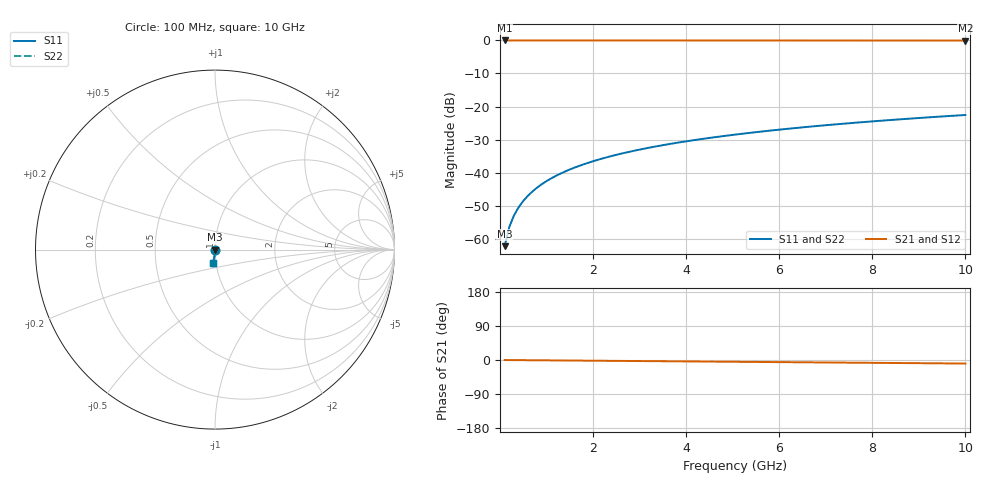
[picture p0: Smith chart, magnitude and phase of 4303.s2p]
# Hz S RI R 50.00
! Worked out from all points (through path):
!   100 points, 100 MHz to 10 GHz, reference 50 ohm
!   highest |S21| = 0.00 dB at 100 MHz (marker M1); lowest = 0.0 dB at 10 GHz (marker M2)
!   group delay of S21, straight-line fit = 2.59 ps
!   lowest |S11| = -62.3 dB at 100 MHz (marker M3), VSWR 1.00, Z = 50 - j0.0741 ohm
!   |S11| at or under -10 dB: start of sweep to end of sweep
!   |S22| runs from -62.3 to -22.6 dB; largest |S21 - S12| = 0
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1e8  0.000203 -0.000741  0.9998 -0.00162  0.9998 -0.00162  0.000203 -0.000741
2e8  0.0002 -0.00148  0.9998 -0.00323  0.9998 -0.00323  0.0002 -0.00148
3e8  0.000194 -0.00222  0.9998 -0.00485  0.9998 -0.00485  0.000194 -0.00222
4e8  0.000185 -0.00296  0.9998 -0.00647  0.9998 -0.00647  0.000185 -0.00296
5e8  0.000174 -0.0037  0.9997 -0.00809  0.9997 -0.00809  0.000174 -0.0037
6e8  0.00016 -0.00444  0.9997 -0.0097  0.9997 -0.0097  0.00016 -0.00444
7e8  0.000144 -0.00519  0.9997 -0.0113  0.9997 -0.0113  0.000144 -0.00519
8e8  0.000126 -0.00593  0.9997 -0.0129  0.9997 -0.0129  0.000126 -0.00593
9e8  0.000105 -0.00667  0.9996 -0.0146  0.9996 -0.0146  0.000105 -0.00667
1.1e9  5.53e-05 -0.00815  0.9996 -0.0178  0.9996 -0.0178  5.53e-05 -0.00815
1.4e9  -3.69e-05 -0.0104  0.9995 -0.0226  0.9995 -0.0226  -3.69e-05 -0.0104
1.8e9  -0.000194 -0.0133  0.9992 -0.0291  0.9992 -0.0291  -0.000194 -0.0133
2.1e9  -0.000336 -0.0156  0.9991 -0.034  0.9991 -0.034  -0.000336 -0.0156
2.5e9  -0.000561 -0.0185  0.9988 -0.0405  0.9988 -0.0405  -0.000561 -0.0185
2.9e9  -0.000824 -0.0215  0.9984 -0.0469  0.9984 -0.0469  -0.000824 -0.0215
3.4e9  -0.00121 -0.0252  0.9979 -0.055  0.9979 -0.055  -0.00121 -0.0252
4.2e9  -0.00195 -0.0311  0.9969 -0.068  0.9969 -0.068  -0.00195 -0.0311
5.1e9  -0.00297 -0.0378  0.9956 -0.0826  0.9956 -0.0826  -0.00297 -0.0378
5.9e9  -0.00404 -0.0437  0.9942 -0.0955  0.9942 -0.0955  -0.00404 -0.0437
6.7e9  -0.00526 -0.0495  0.9925 -0.1085  0.9925 -0.1085  -0.00526 -0.0495
8.4e9  -0.00838 -0.0619  0.9884 -0.136  0.9884 -0.136  -0.00838 -0.0619
1e10  -0.0119 -0.0734  0.9837 -0.1618  0.9837 -0.1618  -0.0119 -0.0734
